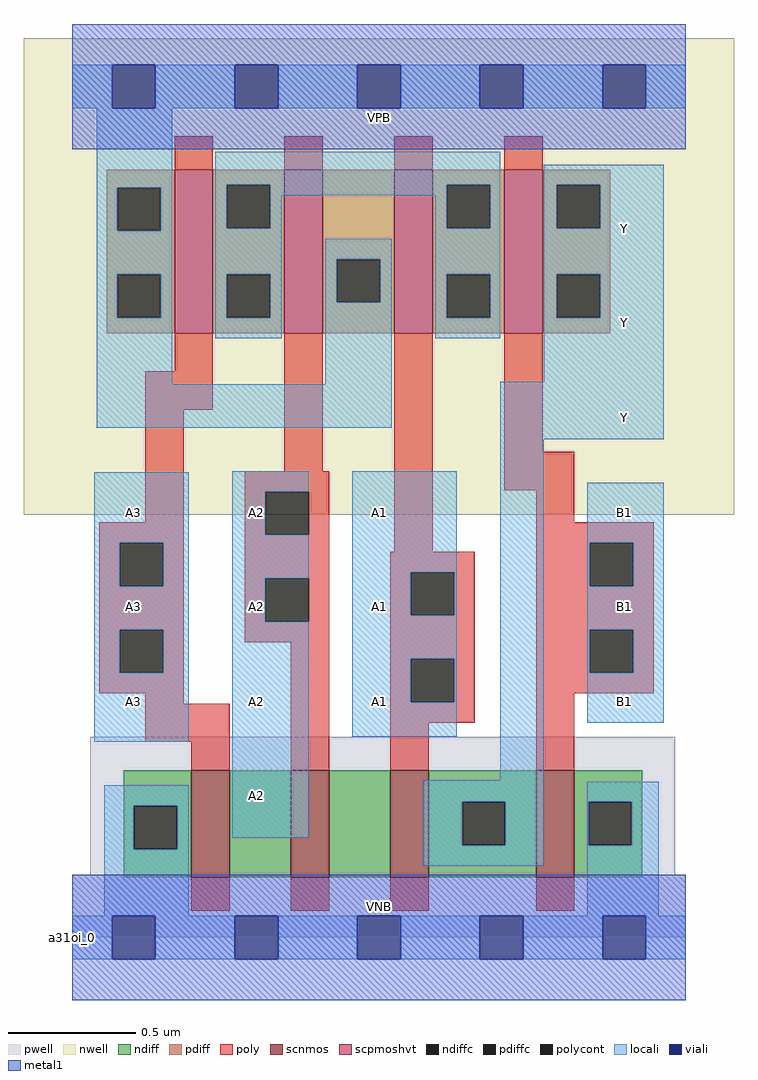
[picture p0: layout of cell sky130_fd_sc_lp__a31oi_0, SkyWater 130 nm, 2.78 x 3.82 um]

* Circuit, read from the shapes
.subckt sky130_fd_sc_lp__a31oi_0 A1 A2 A3 B1 VGND VNB VPB VPWR Y
XM1 n1 A3 VGND VNB sky130_fd_pr__nfet_01v8 w=0.42 l=0.15
XM2 n2 A2 n1 VNB sky130_fd_pr__nfet_01v8 w=0.42 l=0.15
XM3 Y A1 n2 VNB sky130_fd_pr__nfet_01v8 w=0.42 l=0.15
XM4 VGND B1 Y VNB sky130_fd_pr__nfet_01v8 w=0.42 l=0.15
XM5 n3 A3 VPWR VPB sky130_fd_pr__pfet_01v8_hvt w=0.64 l=0.15
XM6 VPWR A2 n3 VPB sky130_fd_pr__pfet_01v8_hvt w=0.64 l=0.15
XM7 n3 A1 VPWR VPB sky130_fd_pr__pfet_01v8_hvt w=0.64 l=0.15
XM8 Y B1 n3 VPB sky130_fd_pr__pfet_01v8_hvt w=0.64 l=0.15
.ends

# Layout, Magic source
magic
tech sky130A
magscale 1 2
<< nwell >>
rect -38 331 518 704
<< pwell >>
rect 14 49 472 157
rect 0 0 480 49
<< scnmos >>
rect 93 47 123 131
rect 171 47 201 131
rect 249 47 279 131
rect 363 47 393 131
<< scpmoshvt >>
rect 80 473 110 601
rect 166 473 196 601
rect 252 473 282 601
rect 338 473 368 601
<< ndiff >>
rect 40 103 93 131
rect 40 69 48 103
rect 82 69 93 103
rect 40 47 93 69
rect 123 47 171 131
rect 201 47 249 131
rect 279 106 363 131
rect 279 72 305 106
rect 339 72 363 106
rect 279 47 363 72
rect 393 106 446 131
rect 393 72 404 106
rect 438 72 446 106
rect 393 47 446 72
<< pdiff >>
rect 27 587 80 601
rect 27 553 35 587
rect 69 553 80 587
rect 27 519 80 553
rect 27 485 35 519
rect 69 485 80 519
rect 27 473 80 485
rect 110 589 166 601
rect 110 555 121 589
rect 155 555 166 589
rect 110 519 166 555
rect 110 485 121 519
rect 155 485 166 519
rect 110 473 166 485
rect 196 531 252 601
rect 196 497 207 531
rect 241 497 252 531
rect 196 473 252 497
rect 282 589 338 601
rect 282 555 293 589
rect 327 555 338 589
rect 282 519 338 555
rect 282 485 293 519
rect 327 485 338 519
rect 282 473 338 485
rect 368 589 421 601
rect 368 555 379 589
rect 413 555 421 589
rect 368 519 421 555
rect 368 485 379 519
rect 413 485 421 519
rect 368 473 421 485
<< ndiffc >>
rect 48 69 82 103
rect 305 72 339 106
rect 404 72 438 106
<< pdiffc >>
rect 35 553 69 587
rect 35 485 69 519
rect 121 555 155 589
rect 121 485 155 519
rect 207 497 241 531
rect 293 555 327 589
rect 293 485 327 519
rect 379 555 413 589
rect 379 485 413 519
<< poly >>
rect 80 601 110 627
rect 166 601 196 627
rect 252 601 282 627
rect 338 601 368 627
rect 80 443 110 473
rect 57 413 110 443
rect 57 325 87 413
rect 166 365 196 473
rect 21 309 87 325
rect 21 275 37 309
rect 71 275 87 309
rect 21 241 87 275
rect 21 207 37 241
rect 71 207 87 241
rect 135 349 201 365
rect 135 315 151 349
rect 185 315 201 349
rect 135 281 201 315
rect 252 302 282 473
rect 338 380 368 473
rect 338 350 393 380
rect 363 325 393 350
rect 363 309 455 325
rect 135 247 151 281
rect 185 247 201 281
rect 135 231 201 247
rect 21 191 87 207
rect 57 183 87 191
rect 57 153 123 183
rect 93 131 123 153
rect 171 131 201 231
rect 249 286 315 302
rect 249 252 265 286
rect 299 252 315 286
rect 249 218 315 252
rect 249 184 265 218
rect 299 184 315 218
rect 249 168 315 184
rect 363 275 405 309
rect 439 275 455 309
rect 363 241 455 275
rect 363 207 405 241
rect 439 207 455 241
rect 363 191 455 207
rect 249 131 279 168
rect 363 131 393 191
rect 93 21 123 47
rect 171 21 201 47
rect 249 21 279 47
rect 363 21 393 47
<< polycont >>
rect 37 275 71 309
rect 37 207 71 241
rect 151 315 185 349
rect 151 247 185 281
rect 265 252 299 286
rect 265 184 299 218
rect 405 275 439 309
rect 405 207 439 241
<< locali >>
rect 0 649 31 683
rect 65 649 127 683
rect 161 649 223 683
rect 257 649 319 683
rect 353 649 415 683
rect 449 649 480 683
rect 19 587 78 649
rect 19 553 35 587
rect 69 553 78 587
rect 19 519 78 553
rect 19 485 35 519
rect 69 485 78 519
rect 19 433 78 485
rect 112 589 335 615
rect 112 555 121 589
rect 155 581 293 589
rect 155 555 164 581
rect 112 519 164 555
rect 284 555 293 581
rect 327 555 335 589
rect 112 485 121 519
rect 155 485 164 519
rect 112 469 164 485
rect 198 531 250 547
rect 198 497 207 531
rect 241 497 250 531
rect 198 433 250 497
rect 284 519 335 555
rect 284 485 293 519
rect 327 485 335 519
rect 284 469 335 485
rect 369 589 463 605
rect 369 555 379 589
rect 413 555 463 589
rect 369 519 463 555
rect 369 485 379 519
rect 413 485 463 519
rect 369 435 463 485
rect 19 399 250 433
rect 335 390 463 435
rect 17 309 91 364
rect 17 275 37 309
rect 71 275 91 309
rect 17 241 91 275
rect 17 207 37 241
rect 71 207 91 241
rect 17 153 91 207
rect 125 349 185 365
rect 125 315 151 349
rect 125 281 185 315
rect 125 247 151 281
rect 25 103 91 119
rect 25 69 48 103
rect 82 69 91 103
rect 125 78 185 247
rect 219 286 301 365
rect 219 252 265 286
rect 299 252 301 286
rect 219 218 301 252
rect 219 184 265 218
rect 299 184 301 218
rect 219 157 301 184
rect 335 123 369 390
rect 403 309 463 356
rect 403 275 405 309
rect 439 275 463 309
rect 403 241 463 275
rect 403 207 405 241
rect 439 207 463 241
rect 403 168 463 207
rect 275 106 369 123
rect 25 17 91 69
rect 275 72 305 106
rect 339 72 369 106
rect 275 56 369 72
rect 403 106 459 122
rect 403 72 404 106
rect 438 72 459 106
rect 403 17 459 72
rect 0 -17 31 17
rect 65 -17 127 17
rect 161 -17 223 17
rect 257 -17 319 17
rect 353 -17 415 17
rect 449 -17 480 17
<< viali >>
rect 31 649 65 683
rect 127 649 161 683
rect 223 649 257 683
rect 319 649 353 683
rect 415 649 449 683
rect 31 -17 65 17
rect 127 -17 161 17
rect 223 -17 257 17
rect 319 -17 353 17
rect 415 -17 449 17
<< metal1 >>
rect 0 683 480 715
rect 0 649 31 683
rect 65 649 127 683
rect 161 649 223 683
rect 257 649 319 683
rect 353 649 415 683
rect 449 649 480 683
rect 0 617 480 649
rect 0 17 480 49
rect 0 -17 31 17
rect 65 -17 127 17
rect 161 -17 223 17
rect 257 -17 319 17
rect 353 -17 415 17
rect 449 -17 480 17
rect 0 -49 480 -17
<< labels >>
flabel pwell s 0 0 480 49 0 FreeSans 200 0 0 0 VNB
port 6 nsew ground bidirectional
flabel nwell s 0 617 480 666 0 FreeSans 200 0 0 0 VPB
port 7 nsew power bidirectional
rlabel comment s 0 0 0 0 4 a31oi_0
flabel metal1 s 0 617 480 666 0 FreeSans 340 0 0 0 VPWR
port 8 nsew power bidirectional
flabel metal1 s 0 0 480 49 0 FreeSans 340 0 0 0 VGND
port 5 nsew ground bidirectional
flabel locali s 223 168 257 202 0 FreeSans 340 0 0 0 A1
port 1 nsew signal input
flabel locali s 223 242 257 276 0 FreeSans 340 0 0 0 A1
port 1 nsew signal input
flabel locali s 223 316 257 350 0 FreeSans 340 0 0 0 A1
port 1 nsew signal input
flabel locali s 415 390 449 424 0 FreeSans 340 0 0 0 Y
port 9 nsew signal output
flabel locali s 127 94 161 128 0 FreeSans 340 0 0 0 A2
port 2 nsew signal input
flabel locali s 127 168 161 202 0 FreeSans 340 0 0 0 A2
port 2 nsew signal input
flabel locali s 127 242 161 276 0 FreeSans 340 0 0 0 A2
port 2 nsew signal input
flabel locali s 127 316 161 350 0 FreeSans 340 0 0 0 A2
port 2 nsew signal input
flabel locali s 31 168 65 202 0 FreeSans 340 0 0 0 A3
port 3 nsew signal input
flabel locali s 31 242 65 276 0 FreeSans 340 0 0 0 A3
port 3 nsew signal input
flabel locali s 31 316 65 350 0 FreeSans 340 0 0 0 A3
port 3 nsew signal input
flabel locali s 415 168 449 202 0 FreeSans 340 0 0 0 B1
port 4 nsew signal input
flabel locali s 415 242 449 276 0 FreeSans 340 0 0 0 B1
port 4 nsew signal input
flabel locali s 415 316 449 350 0 FreeSans 340 0 0 0 B1
port 4 nsew signal input
flabel locali s 415 538 449 572 0 FreeSans 340 0 0 0 Y
port 9 nsew signal output
flabel locali s 415 464 449 498 0 FreeSans 340 0 0 0 Y
port 9 nsew signal output
<< properties >>
string LEFsite unit
string LEFclass CORE
string FIXED_BBOX 0 0 480 666
string GDS_FILE $PDKPATH/libs.ref/sky130_fd_sc_lp/gds/sky130_fd_sc_lp.gds
string LEFsymmetry X Y R90
string GDS_END 3455646
string GDS_START 3449088
<< end >>
